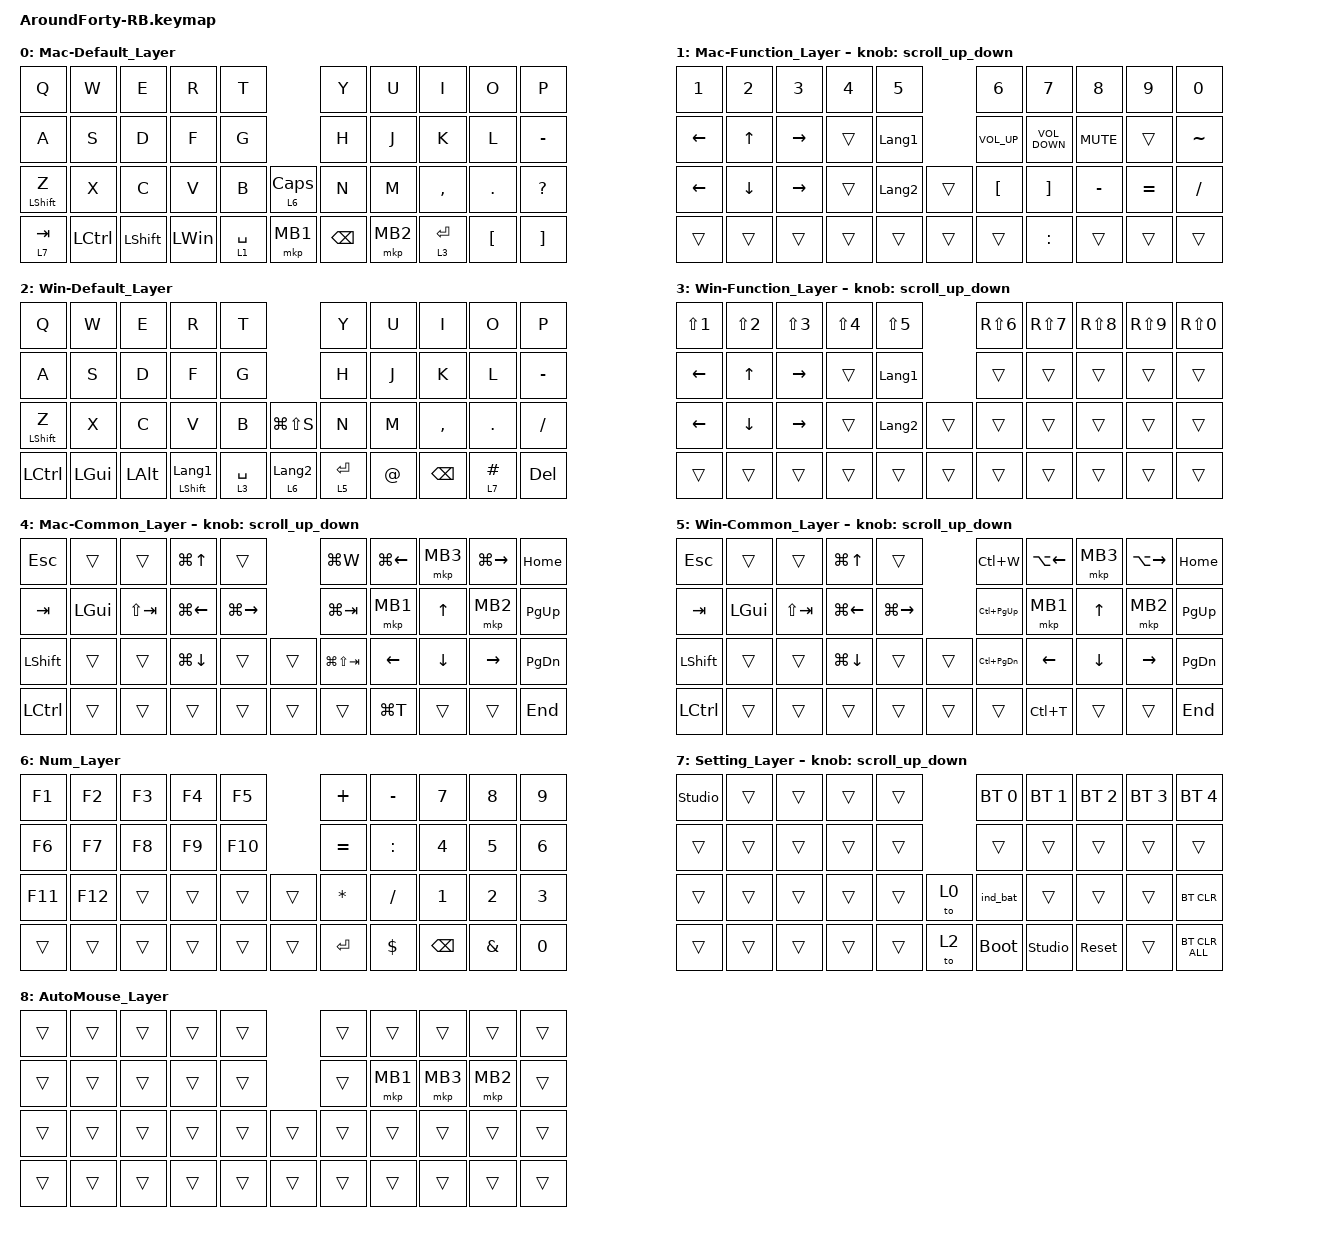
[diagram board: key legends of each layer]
#define ZMK_POINTING_DEFAULT_SCRL_VAL 100
#define MOUSE 6

#include <behaviors/rgbled_widget.dtsi>  // needed to use the behaviors
#include <behaviors.dtsi>
#include <dt-bindings/zmk/bt.h>
#include <dt-bindings/zmk/keys.h>
#include <dt-bindings/zmk/pointing.h>

&mt {
    flavor = "balanced";
    quick-tap-ms = <0>;
};

/ {
    combos {
        compatible = "zmk,combos";

        tab {
            bindings = <&kp TAB>;
            key-positions = <10 11>;
        };

        shift+tab {
            bindings = <&kp LS(TAB)>;
            key-positions = <19 18>;
        };

        escape {
            bindings = <&kp ESCAPE>;
            key-positions = <0 1>;
        };

        auto {
            bindings = <&lt 6 SPACE>;
            key-positions = <14 13>;
        };
    };

    macros {
        to_layer_0: to_layer_0 {
            compatible = "zmk,behavior-macro-one-param";
            #binding-cells = <1>;
            bindings = <&to 0 &macro_param_1to1 &kp MACRO_PLACEHOLDER>;
            label = "TO_LAYER_0";
        };
    };

    behaviors {
        lt_to_layer_0: lt_to_layer_0 {
            compatible = "zmk,behavior-hold-tap";
            label = "LAYER_TAP_TO_0";
            bindings = <&mo>, <&to_layer_0>;

            #binding-cells = <2>;
            tapping-term-ms = <200>;
        };

        scroll_up_down: behavior_sensor_rotate_mouse_wheel_up_down {
            compatible = "zmk,behavior-sensor-rotate";
            #sensor-binding-cells = <0>;
            bindings = <&msc SCRL_UP>, <&msc SCRL_DOWN>;

            tap-ms = <20>;
        };
    };

    keymap {
        compatible = "zmk,keymap";

        Mac-Default_Layer {
            bindings = <
&kp Q             &kp W             &kp E           &kp R         &kp T                    &kp Y          &kp U     &kp I        &kp O             &kp P
&kp A             &kp S             &kp D           &kp F         &kp G                    &kp H          &kp J     &kp K        &kp L             &kp MINUS
&mt LEFT_SHIFT Z  &kp X             &kp C           &kp V         &kp B        &lt 6 CLCK  &kp N          &kp M     &kp COMMA    &kp PERIOD        &kp QMARK
&lt 7 TAB         &kp LEFT_CONTROL  &kp LEFT_SHIFT  &kp LEFT_WIN  &lt 1 SPACE  &mkp MB1    &kp BACKSPACE  &mkp MB2  &lt 3 ENTER  &kp LEFT_BRACKET  &kp RIGHT_BRACKET
            >;
        };

        Mac-Function_Layer {
            bindings = <
&kp NUMBER_1    &kp NUMBER_2  &kp NUMBER_3     &kp NUMBER_4  &kp N5                  &kp NUMBER_6      &kp N7             &kp N8      &kp N9     &kp N0
&kp LEFT_ARROW  &kp UP_ARROW  &kp RIGHT_ARROW  &trans        &kp LANGUAGE_1          &kp C_VOL_UP      &kp C_VOLUME_DOWN  &kp K_MUTE  &trans     &kp TILDE
&kp LEFT        &kp DOWN      &kp RIGHT        &trans        &kp LANGUAGE_2  &trans  &kp LEFT_BRACKET  &kp RIGHT_BRACKET  &kp MINUS   &kp EQUAL  &kp SLASH
&trans          &trans        &trans           &trans        &trans          &trans  &trans            &kp COLON          &trans      &trans     &trans
            >;

            sensor-bindings = <&scroll_up_down>;
        };

        Win-Default_Layer {
            bindings = <
&kp Q             &kp W         &kp E         &kp R                      &kp T                          &kp Y        &kp U        &kp I          &kp O       &kp P
&kp A             &kp S         &kp D         &kp F                      &kp G                          &kp H        &kp J        &kp K          &kp L       &kp MINUS
&mt LEFT_SHIFT Z  &kp X         &kp C         &kp V                      &kp B        &kp LG(LS(S))     &kp N        &kp M        &kp COMMA      &kp PERIOD  &kp SLASH
&kp LCTRL         &kp LEFT_GUI  &kp LEFT_ALT  &mt LEFT_SHIFT LANGUAGE_1  &lt 3 SPACE  &lt 6 LANGUAGE_2  &lt 5 ENTER  &kp AT_SIGN  &kp BACKSPACE  &lt 7 HASH  &kp DELETE
            >;
        };

        Win-Function_Layer {
            bindings = <
&kp LS(NUMBER_1)  &kp LS(NUMBER_2)  &kp LS(NUMBER_3)  &kp LS(NUMBER_4)  &kp LS(N5)              &kp RS(NUMBER_6)  &kp RS(N7)  &kp RS(N8)  &kp RS(N9)  &kp RS(N0)
&kp LEFT_ARROW    &kp UP_ARROW      &kp RIGHT         &trans            &kp LANGUAGE_1          &trans            &trans      &trans      &trans      &trans
&kp LEFT          &kp DOWN_ARROW    &kp RIGHT         &trans            &kp LANGUAGE_2  &trans  &trans            &trans      &trans      &trans      &trans
&trans            &trans            &trans            &trans            &trans          &trans  &trans            &trans      &trans      &trans      &trans
            >;

            sensor-bindings = <&scroll_up_down>;
        };

        Mac-Common_Layer {
            bindings = <
&kp ESCAPE      &trans        &trans       &kp LG(UP_ARROW)    &trans                       &kp LG(W)        &kp LG(LEFT_ARROW)  &mkp MB3        &kp LG(RIGHT_ARROW)  &kp HOME
&kp TAB         &kp LEFT_GUI  &kp LS(TAB)  &kp LG(LEFT_ARROW)  &kp LG(RIGHT_ARROW)          &kp LG(TAB)      &mkp MB1            &kp UP_ARROW    &mkp MB2             &kp PAGE_UP
&kp LEFT_SHIFT  &trans        &trans       &kp LG(DOWN_ARROW)  &trans               &trans  &kp LG(LS(TAB))  &kp LEFT_ARROW      &kp DOWN_ARROW  &kp RIGHT_ARROW      &kp PAGE_DOWN
&kp LCTRL       &trans        &trans       &trans              &trans               &trans  &trans           &kp LG(T)           &trans          &trans               &kp END
            >;

            sensor-bindings = <&scroll_up_down>;
        };

        Win-Common_Layer {
            bindings = <
&kp ESCAPE      &trans        &trans       &kp LG(UP_ARROW)    &trans                       &kp LC(W)          &kp LA(LEFT_ARROW)  &mkp MB3        &kp LA(RIGHT_ARROW)  &kp HOME
&kp TAB         &kp LEFT_GUI  &kp LS(TAB)  &kp LG(LEFT_ARROW)  &kp LG(RIGHT_ARROW)          &kp LC(PAGE_UP)    &mkp MB1            &kp UP_ARROW    &mkp MB2             &kp PAGE_UP
&kp LEFT_SHIFT  &trans        &trans       &kp LG(DOWN_ARROW)  &trans               &trans  &kp LC(PAGE_DOWN)  &kp LEFT_ARROW      &kp DOWN_ARROW  &kp RIGHT_ARROW      &kp PAGE_DOWN
&kp LCTRL       &trans        &trans       &trans              &trans               &trans  &trans             &kp LC(T)           &trans          &trans               &kp END
            >;

            sensor-bindings = <&scroll_up_down>;
        };

        Num_Layer {
            bindings = <
&kp F1   &kp F2   &kp F3  &kp F4  &kp F5           &kp PLUS      &kp MINUS   &kp NUMBER_7   &kp NUMBER_8   &kp NUMBER_9
&kp F6   &kp F7   &kp F8  &kp F9  &kp F10          &kp EQUAL     &kp COLON   &kp N4         &kp N5         &kp N6
&kp F11  &kp F12  &trans  &trans  &trans   &trans  &kp ASTERISK  &kp SLASH   &kp NUMBER_1   &kp NUMBER_2   &kp NUMBER_3
&trans   &trans   &trans  &trans  &trans   &trans  &kp ENTER     &kp DOLLAR  &kp BACKSPACE  &kp AMPERSAND  &kp N0
            >;
        };

        Setting_Layer {
            bindings = <
&studio_unlock  &trans  &trans  &trans  &trans         &bt BT_SEL 0  &bt BT_SEL 1    &bt BT_SEL 2  &bt BT_SEL 3  &bt BT_SEL 4
&trans          &trans  &trans  &trans  &trans         &trans        &trans          &trans        &trans        &trans
&trans          &trans  &trans  &trans  &trans  &to 0  &ind_bat      &trans          &trans        &trans        &bt BT_CLR
&trans          &trans  &trans  &trans  &trans  &to 2  &bootloader   &studio_unlock  &sys_reset    &trans        &bt BT_CLR_ALL
            >;

            sensor-bindings = <&scroll_up_down>;
        };

        AutoMouse_Layer {
            bindings = <
&trans  &trans  &trans  &trans  &trans          &trans  &trans    &trans    &trans    &trans
&trans  &trans  &trans  &trans  &trans          &trans  &mkp MB1  &mkp MB3  &mkp MB2  &trans
&trans  &trans  &trans  &trans  &trans  &trans  &trans  &trans    &trans    &trans    &trans
&trans  &trans  &trans  &trans  &trans  &trans  &trans  &trans    &trans    &trans    &trans
            >;
        };
    };
};
